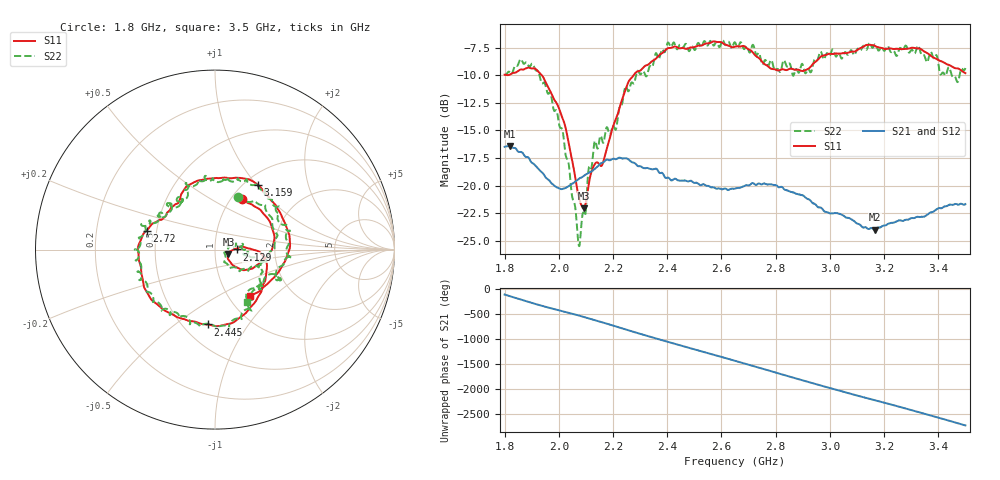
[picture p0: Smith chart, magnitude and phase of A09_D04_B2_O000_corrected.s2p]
! Created with skrf 1.9.0 (http://scikit-rf.org).
# Hz S RI R 50.0
!freq ReS11 ImS11 ReS21 ImS21 ReS12 ImS12 ReS22 ImS22
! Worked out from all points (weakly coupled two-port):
!   1601 points, 1.8 GHz to 3.5 GHz, reference 50 ohm
!   highest |S21| = -16.42 dB at 1.818 GHz (marker M1); lowest = -24.0 dB at 3.165 GHz (marker M2)
!   lowest |S11| = -22.1 dB at 2.091 GHz (marker M3), VSWR 1.17, Z = 58 - j2.81 ohm
!   |S11| at or under -10 dB: 1.938 GHz to 2.276 GHz (338.3 MHz wide, 16.1 % of centre)
!   |S22| runs from -25.5 to -6.8 dB; largest |S21 - S12| = 0.0024
!   S11 on the Smith chart (normalised r, x): 1.8 GHz: 1.12, +0.70; 2.129 GHz: 1.28, +0.00; 2.445 GHz: 0.66, -0.66; 2.72 GHz: 0.44, +0.11; 3.159 GHz: 1.14, +1.02; 3.5 GHz: 1.26, -0.72
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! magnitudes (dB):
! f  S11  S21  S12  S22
! 1.8 GHz  -9.9  -16.5  -16.5  -9.9
! 1.818 GHz  -10.0  -16.4  -16.4  -9.7
! 1.903 GHz  -9.4  -18.0  -18.0  -8.9
! 1.968 GHz  -11.4  -19.6  -19.7  -11.6
! 2.015 GHz  -14.0  -20.3  -20.3  -15.1
! 2.072 GHz  -20.9  -19.4  -19.5  -25.2
! 2.084 GHz  -21.8  -19.3  -19.2  -23.4
! 2.091 GHz  -22.1  -19.1  -19.2  -22.4
! 2.129 GHz  -18.2  -18.6  -18.5  -16.4
! 2.163 GHz  -17.9  -17.9  -17.8  -16.1
! 2.26 GHz  -10.5  -17.7  -17.7  -11.3
! 2.367 GHz  -8.3  -18.7  -18.7  -8.5
! 2.445 GHz  -7.6  -19.5  -19.5  -7.3
! 2.65 GHz  -7.4  -20.3  -20.2  -7.0
! 2.72 GHz  -8.1  -19.8  -19.7  -7.4
! 2.804 GHz  -9.5  -20.0  -20.0  -9.4
! 2.934 GHz  -9.1  -21.5  -21.5  -9.5
! 3.159 GHz  -7.3  -23.9  -23.9  -7.5
! 3.165 GHz  -7.3  -24.0  -24.0  -7.2
! 3.217 GHz  -7.6  -23.4  -23.4  -7.5
! 3.468 GHz  -9.4  -21.7  -21.7  -10.5
! 3.5 GHz  -9.8  -21.7  -21.7  -9.3
